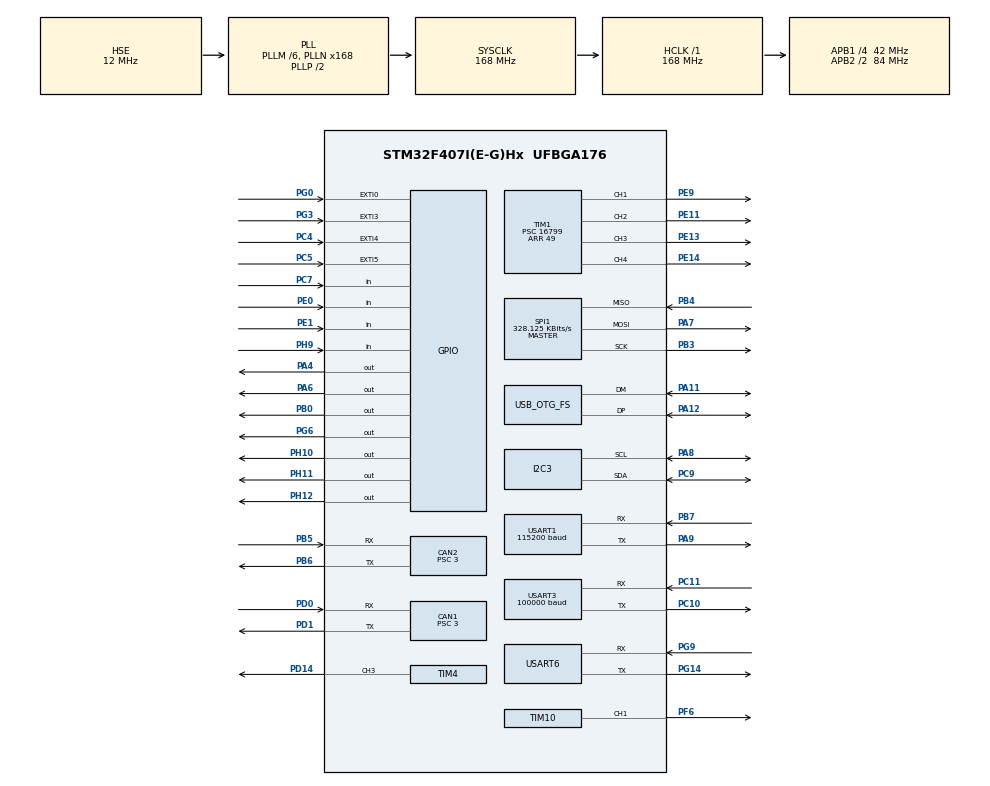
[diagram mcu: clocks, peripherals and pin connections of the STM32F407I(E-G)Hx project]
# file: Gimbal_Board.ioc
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CAN1.BS1=CAN_BS1_10TQ
CAN1.BS2=CAN_BS2_3TQ
CAN1.CalculateBaudRate=1000000
CAN1.CalculateTimeBit=1000
CAN1.CalculateTimeQuantum=71.42857142857143
CAN1.Prescaler=3
CAN1.SJW=CAN_SJW_1TQ
CAN2.BS1=CAN_BS1_10TQ
CAN2.BS2=CAN_BS2_3TQ
CAN2.CalculateBaudRate=1000000
CAN2.CalculateTimeBit=1000
CAN2.CalculateTimeQuantum=71.42857142857143
CAN2.Prescaler=3
Dma.Request0=SPI1_RX
Dma.Request1=SPI1_TX
Dma.Request2=USART3_RX
Dma.Request3=USART6_RX
Dma.Request4=USART6_TX
Dma.Request5=USART1_TX
Dma.Request6=USART1_RX
Dma.SPI1_RX.0.Direction=DMA_PERIPH_TO_MEMORY
Dma.SPI1_RX.0.FIFOMode=DMA_FIFOMODE_DISABLE
Dma.SPI1_RX.0.Instance=DMA2_Stream2
Dma.SPI1_RX.0.MemDataAlignment=DMA_MDATAALIGN_BYTE
Dma.SPI1_RX.0.MemInc=DMA_MINC_ENABLE
Dma.SPI1_RX.0.Mode=DMA_NORMAL
Dma.SPI1_RX.0.PeriphDataAlignment=DMA_PDATAALIGN_BYTE
Dma.SPI1_RX.0.PeriphInc=DMA_PINC_DISABLE
Dma.SPI1_RX.0.Priority=DMA_PRIORITY_VERY_HIGH
Dma.SPI1_TX.1.Direction=DMA_MEMORY_TO_PERIPH
Dma.SPI1_TX.1.FIFOMode=DMA_FIFOMODE_DISABLE
Dma.SPI1_TX.1.Instance=DMA2_Stream3
Dma.SPI1_TX.1.MemDataAlignment=DMA_MDATAALIGN_BYTE
Dma.SPI1_TX.1.MemInc=DMA_MINC_ENABLE
Dma.SPI1_TX.1.Mode=DMA_NORMAL
Dma.SPI1_TX.1.PeriphDataAlignment=DMA_PDATAALIGN_BYTE
Dma.SPI1_TX.1.PeriphInc=DMA_PINC_DISABLE
Dma.SPI1_TX.1.Priority=DMA_PRIORITY_HIGH
Dma.USART1_RX.6.Direction=DMA_PERIPH_TO_MEMORY
Dma.USART1_RX.6.FIFOMode=DMA_FIFOMODE_DISABLE
Dma.USART1_RX.6.Instance=DMA2_Stream5
Dma.USART1_RX.6.MemDataAlignment=DMA_MDATAALIGN_BYTE
Dma.USART1_RX.6.MemInc=DMA_MINC_ENABLE
Dma.USART1_RX.6.Mode=DMA_NORMAL
Dma.USART1_RX.6.PeriphDataAlignment=DMA_PDATAALIGN_BYTE
Dma.USART1_RX.6.PeriphInc=DMA_PINC_DISABLE
Dma.USART1_RX.6.Priority=DMA_PRIORITY_HIGH
Dma.USART1_TX.5.Direction=DMA_MEMORY_TO_PERIPH
Dma.USART1_TX.5.FIFOMode=DMA_FIFOMODE_DISABLE
Dma.USART1_TX.5.Instance=DMA2_Stream7
Dma.USART1_TX.5.MemDataAlignment=DMA_MDATAALIGN_BYTE
Dma.USART1_TX.5.MemInc=DMA_MINC_ENABLE
Dma.USART1_TX.5.Mode=DMA_NORMAL
Dma.USART1_TX.5.PeriphDataAlignment=DMA_PDATAALIGN_BYTE
Dma.USART1_TX.5.PeriphInc=DMA_PINC_DISABLE
Dma.USART1_TX.5.Priority=DMA_PRIORITY_VERY_HIGH
Dma.USART3_RX.2.Direction=DMA_PERIPH_TO_MEMORY
Dma.USART3_RX.2.FIFOMode=DMA_FIFOMODE_DISABLE
Dma.USART3_RX.2.Instance=DMA1_Stream1
Dma.USART3_RX.2.MemDataAlignment=DMA_MDATAALIGN_BYTE
Dma.USART3_RX.2.MemInc=DMA_MINC_ENABLE
Dma.USART3_RX.2.Mode=DMA_NORMAL
Dma.USART3_RX.2.PeriphDataAlignment=DMA_PDATAALIGN_BYTE
Dma.USART3_RX.2.PeriphInc=DMA_PINC_DISABLE
Dma.USART3_RX.2.Priority=DMA_PRIORITY_LOW
Dma.USART6_RX.3.Direction=DMA_PERIPH_TO_MEMORY
Dma.USART6_RX.3.FIFOMode=DMA_FIFOMODE_DISABLE
Dma.USART6_RX.3.Instance=DMA2_Stream1
Dma.USART6_RX.3.MemDataAlignment=DMA_MDATAALIGN_BYTE
Dma.USART6_RX.3.MemInc=DMA_MINC_ENABLE
Dma.USART6_RX.3.Mode=DMA_NORMAL
Dma.USART6_RX.3.PeriphDataAlignment=DMA_PDATAALIGN_BYTE
Dma.USART6_RX.3.PeriphInc=DMA_PINC_DISABLE
Dma.USART6_RX.3.Priority=DMA_PRIORITY_HIGH
Dma.USART6_TX.4.Direction=DMA_MEMORY_TO_PERIPH
Dma.USART6_TX.4.FIFOMode=DMA_FIFOMODE_DISABLE
Dma.USART6_TX.4.Instance=DMA2_Stream6
Dma.USART6_TX.4.MemDataAlignment=DMA_MDATAALIGN_BYTE
Dma.USART6_TX.4.MemInc=DMA_MINC_ENABLE
Dma.USART6_TX.4.Mode=DMA_NORMAL
Dma.USART6_TX.4.PeriphDataAlignment=DMA_PDATAALIGN_BYTE
Dma.USART6_TX.4.PeriphInc=DMA_PINC_DISABLE
Dma.USART6_TX.4.Priority=DMA_PRIORITY_VERY_HIGH
FREERTOS.INCLUDE_eTaskGetState=1
FREERTOS.INCLUDE_pcTaskGetTaskName=1
FREERTOS.INCLUDE_uxTaskGetStackHighWaterMark=1
FREERTOS.INCLUDE_vTaskCleanUpResources=1
FREERTOS.INCLUDE_vTaskDelayUntil=1
FREERTOS.INCLUDE_xEventGroupSetBitFromISR=1
FREERTOS.INCLUDE_xQueueGetMutexHolder=1
FREERTOS.INCLUDE_xSemaphoreGetMutexHolder=1
FREERTOS.INCLUDE_xTaskAbortDelay=1
FREERTOS.INCLUDE_xTaskGetCurrentTaskHandle=1
FREERTOS.INCLUDE_xTaskGetHandle=1
FREERTOS.INCLUDE_xTimerPendFunctionCall=1
FREERTOS.Tasks01=INS_TASK,3,2560,INS_Task,As weak,NULL,Dynamic,NULL,NULL;LED_TASK,0,128,LED_Task,As weak,NULL,Dynamic,NULL,NULL;Gimbal_TASK,2,1024,Gimbal_Task,As weak,NULL,Dynamic,NULL,NULL;Shoot_TASK,1,512,Shoot_Task,As weak,NULL,Dynamic,NULL,NULL;referee_usart,2,256,referee_usart_task,As weak,NULL,Dynamic,NULL,NULL;Detect_Task,1,256,detect_task,As weak,NULL,Dynamic,NULL,NULL;Send_Chassis,2,256,Send_Chassis_Task,Default,NULL,Dynamic,NULL,NULL
FREERTOS.configTOTAL_HEAP_SIZE=35716
FREERTOS.configUSE_TIMERS=1
I2C3.I2C_Mode=I2C_Fast
Mcu.Family=STM32F4
Mcu.Name=STM32F407I(E-G)Hx
Mcu.Package=UFBGA176
NVIC.CAN1_RX0_IRQn=true\:5\:0\:false\:false\:true\:true\:true\:true\:true
NVIC.CAN1_TX_IRQn=true\:5\:0\:false\:false\:true\:true\:true\:true\:true
NVIC.CAN2_RX0_IRQn=true\:5\:0\:false\:false\:true\:true\:true\:true\:true
NVIC.DMA1_Stream1_IRQn=true\:5\:0\:false\:false\:true\:true\:false\:true\:true
NVIC.DMA2_Stream1_IRQn=true\:5\:0\:false\:false\:true\:true\:false\:true\:true
NVIC.DMA2_Stream2_IRQn=true\:5\:0\:false\:false\:true\:true\:false\:true\:true
NVIC.DMA2_Stream3_IRQn=true\:5\:0\:false\:false\:true\:true\:false\:true\:true
NVIC.DMA2_Stream5_IRQn=true\:5\:0\:false\:false\:true\:true\:false\:true\:true
NVIC.DMA2_Stream6_IRQn=true\:5\:0\:false\:false\:true\:true\:false\:true\:true
NVIC.DMA2_Stream7_IRQn=true\:5\:0\:false\:false\:true\:true\:false\:true\:true
NVIC.EXTI0_IRQn=true\:5\:0\:false\:false\:true\:true\:true\:true\:true
NVIC.EXTI3_IRQn=true\:5\:0\:false\:false\:true\:true\:true\:true\:true
NVIC.EXTI4_IRQn=true\:5\:0\:false\:false\:true\:true\:true\:true\:true
NVIC.EXTI9_5_IRQn=true\:5\:0\:false\:false\:true\:true\:true\:true\:true
NVIC.OTG_FS_IRQn=true\:5\:0\:false\:false\:true\:true\:false\:true\:true
NVIC.PriorityGroup=NVIC_PRIORITYGROUP_4
NVIC.TIM1_UP_TIM10_IRQn=true\:7\:0\:true\:false\:true\:true\:true\:true\:true
NVIC.TIM2_IRQn=true\:15\:0\:false\:false\:true\:false\:false\:true\:true
NVIC.TimeBase=TIM2_IRQn
NVIC.TimeBaseIP=TIM2
NVIC.USART1_IRQn=true\:5\:0\:false\:false\:true\:true\:true\:true\:true
NVIC.USART3_IRQn=true\:5\:0\:false\:false\:true\:true\:true\:true\:true
NVIC.USART6_IRQn=true\:5\:0\:false\:false\:true\:true\:true\:true\:true
PA11.Mode=Device_Only
PA11.Signal=USB_OTG_FS_DM
PA12.Mode=Device_Only
PA12.Signal=USB_OTG_FS_DP
PA13.Mode=Serial_Wire
PA13.Signal=SYS_JTMS-SWDIO
PA14.Mode=Serial_Wire
PA14.Signal=SYS_JTCK-SWCLK
PA4.GPIO_PuPd=GPIO_PULLUP
PA4.GPIO_Speed=GPIO_SPEED_FREQ_HIGH
PA4.PinState=GPIO_PIN_SET
PA4.Signal=GPIO_Output
PA6.GPIO_ModeDefaultOutputPP=GPIO_MODE_OUTPUT_OD
PA6.GPIO_PuPd=GPIO_NOPULL
PA6.Signal=GPIO_Output
PA7.GPIO_Mode=GPIO_MODE_AF_PP
PA7.GPIO_PuPd=GPIO_PULLUP
PA7.GPIO_Speed=GPIO_SPEED_FREQ_VERY_HIGH
PA7.Mode=Full_Duplex_Master
PA7.Signal=SPI1_MOSI
PA8.GPIO_Mode=GPIO_MODE_AF_OD
PA8.GPIO_Pu=GPIO_PULLUP
PA8.GPIO_Speed=GPIO_SPEED_FREQ_VERY_HIGH
PA8.Mode=I2C
PA8.Signal=I2C3_SCL
PA9.Mode=Asynchronous
PA9.Signal=USART1_TX
PB0.GPIO_ModeDefaultOutputPP=GPIO_MODE_OUTPUT_PP
PB0.GPIO_PuPd=GPIO_PULLUP
PB0.GPIO_Speed=GPIO_SPEED_FREQ_HIGH
PB0.PinState=GPIO_PIN_SET
PB0.Signal=GPIO_Output
PB14.GPIO_ModeDefaultPP=GPIO_MODE_AF_PP
PB14.GPIO_PuPd=GPIO_PULLUP
PB14.GPIO_Speed=GPIO_SPEED_FREQ_VERY_HIGH
PB14.Signal=S_TIM12_CH1
PB15.GPIO_ModeDefaultPP=GPIO_MODE_AF_PP
PB15.GPIO_PuPd=GPIO_PULLUP
PB15.GPIO_Speed=GPIO_SPEED_FREQ_VERY_HIGH
PB15.Signal=S_TIM12_CH2
PB3.GPIO_Mode=GPIO_MODE_AF_PP
PB3.GPIO_PuPd=GPIO_PULLUP
PB3.GPIO_Speed=GPIO_SPEED_FREQ_VERY_HIGH
PB3.Mode=Full_Duplex_Master
PB3.Signal=SPI1_SCK
PB4.GPIO_Mode=GPIO_MODE_AF_PP
PB4.GPIO_PuPd=GPIO_PULLUP
PB4.GPIO_Speed=GPIO_SPEED_FREQ_VERY_HIGH
PB4.Mode=Full_Duplex_Master
PB4.Signal=SPI1_MISO
PB5.Mode=CAN_Activate
PB5.Signal=CAN2_RX
PB6.Mode=CAN_Activate
PB6.Signal=CAN2_TX
PB7.Mode=Asynchronous
PB7.Signal=USART1_RX
PC10.GPIO_ModeDefaultPP=GPIO_MODE_AF_PP
PC10.GPIO_PuPd=GPIO_PULLUP
PC10.GPIO_Speed=GPIO_SPEED_FREQ_VERY_HIGH
PC10.Mode=Asynchronous
PC10.Signal=USART3_TX
PC11.GPIO_ModeDefaultPP=GPIO_MODE_AF_PP
PC11.GPIO_PuPd=GPIO_PULLUP
PC11.GPIO_Speed=GPIO_SPEED_FREQ_VERY_HIGH
PC11.Mode=Asynchronous
PC11.Signal=USART3_RX
PC4.GPIO_ModeDefaultEXTI=GPIO_MODE_IT_FALLING
PC4.GPIO_PuPd=GPIO_PULLUP
PC4.Signal=GPXTI4
PC5.GPIO_ModeDefaultEXTI=GPIO_MODE_IT_FALLING
PC5.GPIO_PuPd=GPIO_PULLUP
PC5.Signal=GPXTI5
PC7.GPIO_PuPd=GPIO_PULLDOWN
PC7.Signal=GPIO_Input
PC8.GPIO_ModeDefaultPP=GPIO_MODE_AF_PP
PC8.GPIO_PuPd=GPIO_PULLUP
PC8.GPIO_Speed=GPIO_SPEED_FREQ_VERY_HIGH
PC8.Signal=S_TIM3_CH3
PC9.GPIO_Mode=GPIO_MODE_AF_OD
PC9.GPIO_Pu=GPIO_PULLUP
PC9.GPIO_Speed=GPIO_SPEED_FREQ_VERY_HIGH
PC9.Mode=I2C
PC9.Signal=I2C3_SDA
PD0.Mode=CAN_Activate
PD0.Signal=CAN1_RX
PD1.Mode=CAN_Activate
PD1.Signal=CAN1_TX
PD14.GPIO_PuPd=GPIO_PULLUP
PD14.GPIO_Speed=GPIO_SPEED_FREQ_VERY_HIGH
PD14.Signal=S_TIM4_CH3
PE0.GPIO_PuPd=GPIO_PULLDOWN
PE0.Signal=GPIO_Input
PE1.GPIO_PuPd=GPIO_PULLDOWN
PE1.Signal=GPIO_Input
PE11.GPIO_ModeDefaultPP=GPIO_MODE_AF_PP
PE11.GPIO_PuPd=GPIO_PULLUP
PE11.GPIO_Speed=GPIO_SPEED_FREQ_VERY_HIGH
PE11.Signal=S_TIM1_CH2
PE13.GPIO_PuPd=GPIO_PULLUP
PE13.GPIO_Speed=GPIO_SPEED_FREQ_VERY_HIGH
PE13.Signal=S_TIM1_CH3
PE14.Signal=S_TIM1_CH4
PE9.GPIO_ModeDefaultPP=GPIO_MODE_AF_PP
PE9.GPIO_PuPd=GPIO_PULLUP
PE9.GPIO_Speed=GPIO_SPEED_FREQ_VERY_HIGH
PE9.Signal=S_TIM1_CH1
PF6.GPIO_PuPd=GPIO_PULLUP
PF6.GPIO_Speed=GPIO_SPEED_FREQ_VERY_HIGH
PF6.Signal=S_TIM10_CH1
PG0.GPIO_ModeDefaultEXTI=GPIO_MODE_IT_FALLING
PG0.GPIO_PuPd=GPIO_PULLUP
PG0.Signal=GPXTI0
PG14.GPIO_ModeDefaultPP=GPIO_MODE_AF_PP
PG14.GPIO_PuPd=GPIO_PULLUP
PG14.GPIO_Speed=GPIO_SPEED_FREQ_VERY_HIGH
PG14.Mode=Asynchronous
PG14.Signal=USART6_TX
PG3.GPIO_ModeDefaultEXTI=GPIO_MODE_IT_FALLING
PG3.GPIO_PuPd=GPIO_PULLUP
PG3.Signal=GPXTI3
PG6.GPIO_ModeDefaultOutputPP=GPIO_MODE_OUTPUT_PP
PG6.GPIO_PuPd=GPIO_PULLUP
PG6.GPIO_Speed=GPIO_SPEED_FREQ_HIGH
PG6.PinState=GPIO_PIN_SET
PG6.Signal=GPIO_Output
PG9.GPIO_ModeDefaultPP=GPIO_MODE_AF_PP
PG9.GPIO_PuPd=GPIO_PULLUP
PG9.GPIO_Speed=GPIO_SPEED_FREQ_VERY_HIGH
PG9.Mode=Asynchronous
PG9.Signal=USART6_RX
PH0-OSC_IN.Mode=HSE-External-Oscillator
PH0-OSC_IN.Signal=RCC_OSC_IN
PH1-OSC_OUT.Mode=HSE-External-Oscillator
PH1-OSC_OUT.Signal=RCC_OSC_OUT
PH10.GPIO_ModeDefaultOutputPP=GPIO_MODE_OUTPUT_PP
PH10.GPIO_PuPd=GPIO_PULLDOWN
PH10.GPIO_Speed=GPIO_SPEED_FREQ_VERY_HIGH
PH10.PinState=GPIO_PIN_RESET
PH10.Signal=GPIO_Output
PH11.GPIO_ModeDefaultOutputPP=GPIO_MODE_OUTPUT_PP
PH11.GPIO_PuPd=GPIO_PULLDOWN
PH11.GPIO_Speed=GPIO_SPEED_FREQ_VERY_HIGH
PH11.PinState=GPIO_PIN_RESET
PH11.Signal=GPIO_Output
PH12.GPIO_ModeDefaultOutputPP=GPIO_MODE_OUTPUT_PP
PH12.GPIO_PuPd=GPIO_PULLDOWN
PH12.GPIO_Speed=GPIO_SPEED_FREQ_VERY_HIGH
PH12.PinState=GPIO_PIN_RESET
PH12.Signal=GPIO_Output
PH9.GPIO_PuPd=GPIO_PULLDOWN
PH9.Signal=GPIO_Input
ProjectManager.HeapSize=0x2000
ProjectManager.StackSize=0x2000
ProjectManager.TargetToolchain=MDK-ARM V5
RCC.48MHZClocksFreq_Value=48000000
RCC.AHBFreq_Value=168000000
RCC.APB1CLKDivider=RCC_HCLK_DIV4
RCC.APB1Freq_Value=42000000
RCC.APB1TimFreq_Value=84000000
RCC.APB2CLKDivider=RCC_HCLK_DIV2
RCC.APB2Freq_Value=84000000
RCC.APB2TimFreq_Value=168000000
RCC.CortexFreq_Value=168000000
RCC.HCLKFreq_Value=168000000
RCC.HSE_VALUE=12000000
RCC.HSI_VALUE=16000000
RCC.LSE_VALUE=32768
RCC.PLLM=6
RCC.PLLN=168
RCC.PLLQ=7
RCC.SYSCLKFreq_VALUE=168000000
RCC.SYSCLKSource=RCC_SYSCLKSOURCE_PLLCLK
RCC.VCOOutputFreq_Value=336000000
SH.S_TIM10_CH1.0=TIM10_CH1,PWM Generation1 CH1
SH.S_TIM12_CH1.0=TIM12_CH1
SH.S_TIM12_CH2.0=TIM12_CH2
SH.S_TIM1_CH1.0=TIM1_CH1,PWM Generation1 CH1
SH.S_TIM1_CH2.0=TIM1_CH2,PWM Generation2 CH2
SH.S_TIM1_CH3.0=TIM1_CH3,PWM Generation3 CH3
SH.S_TIM1_CH4.0=TIM1_CH4,PWM Generation4 CH4
SH.S_TIM3_CH3.0=TIM3_CH3
SH.S_TIM4_CH3.0=TIM4_CH3,PWM Generation3 CH3
SPI1.BaudRatePrescaler=SPI_BAUDRATEPRESCALER_256
SPI1.CLKPhase=SPI_PHASE_2EDGE
SPI1.CLKPolarity=SPI_POLARITY_HIGH
SPI1.CalculateBaudRate=328.125 KBits/s
SPI1.Direction=SPI_DIRECTION_2LINES
SPI1.Mode=SPI_MODE_MASTER
SPI1.VirtualType=VM_MASTER
TIM1.AutoReloadPreload=TIM_AUTORELOAD_PRELOAD_DISABLE
TIM1.Channel-PWM\ Generation1\ CH1=TIM_CHANNEL_1
TIM1.Channel-PWM\ Generation2\ CH2=TIM_CHANNEL_2
TIM1.Channel-PWM\ Generation3\ CH3=TIM_CHANNEL_3
TIM1.Channel-PWM\ Generation4\ CH4=TIM_CHANNEL_4
TIM1.Period=49
TIM1.Prescaler=16799
TIM10.Channel=TIM_CHANNEL_1
TIM10.Period=4999
TIM4.Channel-PWM\ Generation3\ CH3=TIM_CHANNEL_3
TIM4.Period=20999
USART1.BaudRate=115200
USART1.VirtualMode=VM_ASYNC
USART3.BaudRate=100000
USART3.VirtualMode=VM_ASYNC
USART6.VirtualMode=VM_ASYNC
USB_DEVICE.CLASS_NAME_FS=CDC
USB_DEVICE.VirtualMode-CDC_FS=Cdc
USB_DEVICE.VirtualModeFS=Cdc_FS
USB_OTG_FS.VirtualMode=Device_Only
VP_CRC_VS_CRC.Mode=CRC_Activate
VP_FREERTOS_VS_CMSIS_V1.Mode=CMSIS_V1
VP_SYS_VS_tim2.Mode=TIM2
VP_TIM10_VS_ClockSourceINT.Mode=Enable_Timer
VP_TIM1_VS_ClockSourceINT.Mode=Internal
VP_TIM4_VS_ClockSourceINT.Mode=Internal
VP_USB_DEVICE_VS_USB_DEVICE_CDC_FS.Mode=CDC_FS
board=custom

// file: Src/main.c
/* USER CODE BEGIN Header */
/**
 ******************************************************************************
 * @file           : main.c
 * @brief          : Main program body
 ******************************************************************************
 * @attention
 *
 * Copyright (c) 2025 STMicroelectronics.
 * All rights reserved.
 *
 * This software is licensed under terms that can be found in the LICENSE file
 * in the root directory of this software component.
 * If no LICENSE file comes with this software, it is provided AS-IS.
 *
 ******************************************************************************
 */
/* USER CODE END Header */
#include "main.h"
#include "cmsis_os.h"
#include "can.h"
#include "crc.h"
#include "dma.h"
#include "i2c.h"
#include "spi.h"
#include "tim.h"
#include "usart.h"
#include "usb_device.h"
#include "gpio.h"

/* USER CODE BEGIN Includes */
#include "bsp_can_gimbal.h"
#include "bsp_usart.h"
#include "bsp_delay.h"
#include "bsp_DMIMU.h"
#include "remote_control.h"
#include "motor.h"
#include "Referee.h"
#include "referee_usart_task.h"
#include "Can_Timer_Task.h"
/* USER CODE END Includes */

void SystemClock_Config(void);
void MX_FREERTOS_Init(void);

/* USER CODE BEGIN 0 */
// 信号量句柄，用于INS和Gimbal任务同步
SemaphoreHandle_t ins_init_done_semaphore;
/* USER CODE END 0 */

int main(void)
{

  /* MCU Configuration--------------------------------------------------------*/

  /* Reset of all peripherals, Initializes the Flash interface and the Systick. */
  HAL_Init();

  /* Configure the system clock */
  SystemClock_Config();

  /* Initialize all configured peripherals */
  MX_GPIO_Init();
  MX_DMA_Init();
  MX_I2C3_Init();
  MX_SPI1_Init();
  MX_TIM10_Init();
  MX_USART3_UART_Init();
  MX_CAN1_Init();
  MX_CAN2_Init();
  MX_USART6_UART_Init();
  MX_USART1_UART_Init();
  MX_TIM1_Init();
  MX_CRC_Init();
  MX_TIM4_Init();
  /* USER CODE BEGIN 2 */
  delay_init(); // 一定要有，INS_task会用到delay_us
  MX_USB_DEVICE_Init();
  HAL_TIM_Base_Start_IT(&htim1);             // 开启tim1中断，用于向上位机定时发送陀螺仪数据
  HAL_TIM_PWM_Start(&htim10, TIM_CHANNEL_1); // 用于对陀螺仪进行恒温处理
  /***************CAN初始化*****************/
  Create_Can_Send_Queues();                  // 创建can发送队列
  Create_Can_Send_Timers();                  ////创建can发送定时器任务
  Can_Filter_Init();
  Can_Msg_Init();
  imu_can_init(BIG_YAW_DMIMU_TransID, BIG_YAW_DMIMU_RecID, &hcan2);
  /******************USART相关初始化***********************/
  remote_control_init();                                                                  // 使能usart3空闲中断并开启接收DMA，准备接收遥控器数据
  fifo_s_init(&Referee_FIFO, Referee_FIFO_Buffer, REFEREE_FIFO_BUF_LENGTH);               // 初始化裁判系统数据接收队列
  Referee_StructInit();                                                                   // 初始化裁判系统数据结构体
  Referee_USART6_Init(Referee_Buffer[0], Referee_Buffer[1], REFEREE_USART_RX_BUF_LENGHT); // 设置裁判系统串口dma双缓冲区并开启dma，同时使能串口空闲中断
  /*****************创建信号量，用于INS和Gimbal任务同步，确保gimbal任务在INS任务运行一段时间后开始执行（前人做法是gimbal先delay足够久的时间，但我觉得这样太shit了）*************/
  // 创建二进制信号量，初始值为0（未释放）
  ins_init_done_semaphore = xSemaphoreCreateBinary();
  if (ins_init_done_semaphore == NULL)
  {
    // 信号量创建失败
    Error_Handler();
  }
  /***************************************************/
  /* USER CODE END 2 */

  /* Call init function for freertos objects (in cmsis_os2.c) */
  MX_FREERTOS_Init();

  /* Start scheduler */
  osKernelStart();

  /* We should never get here as control is now taken by the scheduler */

  /* Infinite loop */
  while (1)
  {

  }
}

void SystemClock_Config(void)
{
  RCC_OscInitTypeDef RCC_OscInitStruct = {0};
  RCC_ClkInitTypeDef RCC_ClkInitStruct = {0};

  /** Configure the main internal regulator output voltage
   */
  __HAL_RCC_PWR_CLK_ENABLE();
  __HAL_PWR_VOLTAGESCALING_CONFIG(PWR_REGULATOR_VOLTAGE_SCALE1);

  /** Initializes the RCC Oscillators according to the specified parameters
   * in the RCC_OscInitTypeDef structure.
   */
  RCC_OscInitStruct.OscillatorType = RCC_OSCILLATORTYPE_HSE;
  RCC_OscInitStruct.HSEState = RCC_HSE_ON;
  RCC_OscInitStruct.PLL.PLLState = RCC_PLL_ON;
  RCC_OscInitStruct.PLL.PLLSource = RCC_PLLSOURCE_HSE;
  RCC_OscInitStruct.PLL.PLLM = 6;
  RCC_OscInitStruct.PLL.PLLN = 168;
  RCC_OscInitStruct.PLL.PLLP = RCC_PLLP_DIV2;
  RCC_OscInitStruct.PLL.PLLQ = 7;
  if (HAL_RCC_OscConfig(&RCC_OscInitStruct) != HAL_OK)
  {
    Error_Handler();
  }

  /** Initializes the CPU, AHB and APB buses clocks
   */
  RCC_ClkInitStruct.ClockType = RCC_CLOCKTYPE_HCLK | RCC_CLOCKTYPE_SYSCLK | RCC_CLOCKTYPE_PCLK1 | RCC_CLOCKTYPE_PCLK2;
  RCC_ClkInitStruct.SYSCLKSource = RCC_SYSCLKSOURCE_PLLCLK;
  RCC_ClkInitStruct.AHBCLKDivider = RCC_SYSCLK_DIV1;
  RCC_ClkInitStruct.APB1CLKDivider = RCC_HCLK_DIV4;
  RCC_ClkInitStruct.APB2CLKDivider = RCC_HCLK_DIV2;

  if (HAL_RCC_ClockConfig(&RCC_ClkInitStruct, FLASH_LATENCY_5) != HAL_OK)
  {
    Error_Handler();
  }
}

void HAL_TIM_PeriodElapsedCallback(TIM_HandleTypeDef *htim)
{
  if (htim->Instance == TIM2)
  {
    HAL_IncTick();
  }
}

void Error_Handler(void)
{
  __disable_irq();
  while (1)
  {
  }
}

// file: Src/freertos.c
/* USER CODE BEGIN Header */
/**
  ******************************************************************************
  * File Name          : freertos.c
  * Description        : Code for freertos applications
  ******************************************************************************
  * @attention
  *
  * Copyright (c) 2025 STMicroelectronics.
  * All rights reserved.
  *
  * This software is licensed under terms that can be found in the LICENSE file
  * in the root directory of this software component.
  * If no LICENSE file comes with this software, it is provided AS-IS.
  *
  ******************************************************************************
  */
/* USER CODE END Header */

#include "FreeRTOS.h"
#include "task.h"
#include "main.h"
#include "cmsis_os.h"

osThreadId INS_TASKHandle;
osThreadId LED_TASKHandle;
osThreadId Gimbal_TASKHandle;
osThreadId Shoot_TASKHandle;
osThreadId referee_usartHandle;
osThreadId Detect_TaskHandle;
osThreadId Send_ChassisHandle;

void INS_Task(void const * argument);
void LED_Task(void const * argument);
void Gimbal_Task(void const * argument);
void Shoot_Task(void const * argument);
void referee_usart_task(void const * argument);
void detect_task(void const * argument);
void Send_Chassis_Task(void const * argument);

extern void MX_USB_DEVICE_Init(void);
void MX_FREERTOS_Init(void); /* (MISRA C 2004 rule 8.1) */

/* GetIdleTaskMemory prototype (linked to static allocation support) */
void vApplicationGetIdleTaskMemory( StaticTask_t **ppxIdleTaskTCBBuffer, StackType_t **ppxIdleTaskStackBuffer, uint32_t *pulIdleTaskStackSize );

/* GetTimerTaskMemory prototype (linked to static allocation support) */
void vApplicationGetTimerTaskMemory( StaticTask_t **ppxTimerTaskTCBBuffer, StackType_t **ppxTimerTaskStackBuffer, uint32_t *pulTimerTaskStackSize );

/* USER CODE BEGIN GET_IDLE_TASK_MEMORY */
static StaticTask_t xIdleTaskTCBBuffer;
static StackType_t xIdleStack[configMINIMAL_STACK_SIZE];

void vApplicationGetIdleTaskMemory( StaticTask_t **ppxIdleTaskTCBBuffer, StackType_t **ppxIdleTaskStackBuffer, uint32_t *pulIdleTaskStackSize )
{
  *ppxIdleTaskTCBBuffer = &xIdleTaskTCBBuffer;
  *ppxIdleTaskStackBuffer = &xIdleStack[0];
  *pulIdleTaskStackSize = configMINIMAL_STACK_SIZE;
  /* place for user code */
}
/* USER CODE END GET_IDLE_TASK_MEMORY */

/* USER CODE BEGIN GET_TIMER_TASK_MEMORY */
static StaticTask_t xTimerTaskTCBBuffer;
static StackType_t xTimerStack[configTIMER_TASK_STACK_DEPTH];

void vApplicationGetTimerTaskMemory( StaticTask_t **ppxTimerTaskTCBBuffer, StackType_t **ppxTimerTaskStackBuffer, uint32_t *pulTimerTaskStackSize )
{
  *ppxTimerTaskTCBBuffer = &xTimerTaskTCBBuffer;
  *ppxTimerTaskStackBuffer = &xTimerStack[0];
  *pulTimerTaskStackSize = configTIMER_TASK_STACK_DEPTH;
  /* place for user code */
}
/* USER CODE END GET_TIMER_TASK_MEMORY */

void MX_FREERTOS_Init(void) {

  /* Create the thread(s) */
  /* definition and creation of INS_TASK */
  osThreadDef(INS_TASK, INS_Task, osPriorityRealtime, 0, 2560);
  INS_TASKHandle = osThreadCreate(osThread(INS_TASK), NULL);

  /* definition and creation of LED_TASK */
  osThreadDef(LED_TASK, LED_Task, osPriorityNormal, 0, 128);
  LED_TASKHandle = osThreadCreate(osThread(LED_TASK), NULL);

  // /* definition and creation of Gimbal_TASK */
  osThreadDef(Gimbal_TASK, Gimbal_Task, osPriorityHigh, 0, 1024);
  Gimbal_TASKHandle = osThreadCreate(osThread(Gimbal_TASK), NULL);

  // /* definition and creation of Shoot_TASK */
  osThreadDef(Shoot_TASK, Shoot_Task, osPriorityAboveNormal, 0, 512);
  Shoot_TASKHandle = osThreadCreate(osThread(Shoot_TASK), NULL);

  // /* definition and creation of referee_usart */
  osThreadDef(referee_usart, referee_usart_task, osPriorityHigh, 0, 256);
  referee_usartHandle = osThreadCreate(osThread(referee_usart), NULL);

  // /* definition and creation of Detect_Task */
  osThreadDef(Detect_Task, detect_task, osPriorityAboveNormal, 0, 256);
  Detect_TaskHandle = osThreadCreate(osThread(Detect_Task), NULL);

  // /* definition and creation of Send_Chassis */
  osThreadDef(Send_Chassis, Send_Chassis_Task, osPriorityHigh, 0, 256);
  Send_ChassisHandle = osThreadCreate(osThread(Send_Chassis), NULL);

}

__weak void INS_Task(void const * argument)
{
  for(;;)
  {
    osDelay(1);
  }
}

__weak void LED_Task(void const * argument)
{
  for(;;)
  {
    osDelay(1);
  }
}

__weak void Gimbal_Task(void const * argument)
{
  for(;;)
  {
    osDelay(1);
  }
}

__weak void Shoot_Task(void const * argument)
{
  for(;;)
  {
    osDelay(1);
  }
}

__weak void referee_usart_task(void const * argument)
{
  for(;;)
  {
    osDelay(1);
  }
}

__weak void detect_task(void const * argument)
{
  for(;;)
  {
    osDelay(1);
  }
}

__weak void Send_Chassis_Task(void const *argument)
{
  for(;;)
  {
    osDelay(1);
  }
}
